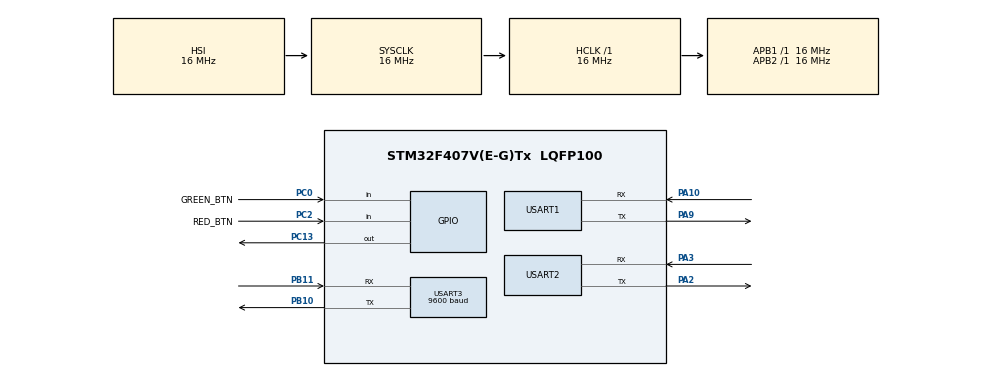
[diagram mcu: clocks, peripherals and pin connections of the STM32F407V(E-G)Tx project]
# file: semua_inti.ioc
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Mcu.Family=STM32F4
Mcu.Name=STM32F407V(E-G)Tx
Mcu.Package=LQFP100
NVIC.PriorityGroup=NVIC_PRIORITYGROUP_4
PA10.Mode=Asynchronous
PA10.Signal=USART1_RX
PA2.Mode=Asynchronous
PA2.Signal=USART2_TX
PA3.Mode=Asynchronous
PA3.Signal=USART2_RX
PA9.Mode=Asynchronous
PA9.Signal=USART1_TX
PB10.Mode=Asynchronous
PB10.Signal=USART3_TX
PB11.Mode=Asynchronous
PB11.Signal=USART3_RX
PC0.GPIO_Label=GREEN_BTN
PC0.GPIO_PuPd=GPIO_PULLUP
PC0.Signal=GPIO_Input
PC2.GPIO_Label=RED_BTN
PC2.GPIO_PuPd=GPIO_PULLUP
PC2.Signal=GPIO_Input
PC13-ANTI_TAMP.Signal=GPIO_Output
ProjectManager.HeapSize=0x200
ProjectManager.StackSize=0x400
ProjectManager.TargetToolchain=STM32CubeIDE
RCC.AHBFreq_Value=16000000
RCC.APB1Freq_Value=16000000
RCC.APB2Freq_Value=16000000
RCC.CortexFreq_Value=16000000
RCC.HSE_VALUE=25000000
RCC.HSI_VALUE=16000000
RCC.LSE_VALUE=32768
RCC.SYSCLKFreq_VALUE=16000000
RCC.VCOOutputFreq_Value=192000000
USART1.VirtualMode=VM_ASYNC
USART2.VirtualMode=VM_ASYNC
USART3.BaudRate=9600
USART3.VirtualMode=VM_ASYNC
board=custom

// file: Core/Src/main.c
/* USER CODE BEGIN Header */
/**
  ******************************************************************************
  * @file           : main.c
  * @brief          : Main program body
  ******************************************************************************
  */
/* USER CODE END Header */
#include "main.h"

/* USER CODE BEGIN Includes */
#include <stdio.h>
#include <string.h>
#include <stdbool.h>
#include "modbus_master.h"
/* USER CODE END Includes */

/* USER CODE BEGIN PD */

// untuk wifi
#define WIFI_SSID "woi"
#define WIFI_PASS "123456781"
#define WIFI_RX_BUFFER_SIZE 512

// --- TESTING/DEVELOPMENT CONFIGURATION ---
// Set ENABLE_PHOTO_LIMIT to 1 for testing (captures MAX_PHOTOS then stops)
// Set ENABLE_PHOTO_LIMIT to 0 for production (infinite loop)
#define ENABLE_PHOTO_LIMIT  1      // 1 = testing mode, 0 = production mode
#define MAX_PHOTOS          10     // Maximum photos to capture (ignored if ENABLE_PHOTO_LIMIT = 0)

/* USER CODE END PD */

UART_HandleTypeDef huart1;
UART_HandleTypeDef huart2;
UART_HandleTypeDef huart3;

/* USER CODE BEGIN PV */

//variabel wifi
uint8_t wifi_rx_buffer[WIFI_RX_BUFFER_SIZE];

// Modbus Master untuk komunikasi dengan ESP32-CAM
ModbusMaster_t modbus_master;

// Photo ID and Group ID counters
uint16_t photo_counter = 1;    // Photo ID counter (starts from 1)
uint16_t current_group = 1;    // Current group ID (changes when robot turns)

// OLD: UART receive buffer and state for STM32 <-> ESP32 comms (DEPRECATED - using Modbus now)
// #define RX_LINE_MAX 256
// static uint8_t rx_byte;                // single-byte receiver for interrupt
// static char rx_line[RX_LINE_MAX];      // accumulates a line
// static volatile uint16_t rx_index = 0;
// static volatile uint8_t line_ready = 0; // flag: full line received
// static volatile uint8_t waiting_for_response = 0;
// static const uint32_t COMMAND_TIMEOUT_MS = 5000; // 5s timeout, adjust as needed

/* USER CODE END PV */

void SystemClock_Config(void);
static void MX_GPIO_Init(void);
static void MX_USART2_UART_Init(void);
static void MX_USART1_UART_Init(void);
static void MX_USART3_UART_Init(void);

/* USER CODE BEGIN PFP */

// --- FUNGSI BANTU UNTUK WIFI (DEPRECATED - esp-link handles WiFi now) ---
// bool send_and_receive(const char *cmd, uint32_t delay_ms);
// bool ESP01_ConnectWiFi(const char *ssid, const char *password);
// -----------------------------

// --- BUTTON CONTROL FUNCTIONS ---
uint8_t read_green_button(void);  // Returns 1 if pressed, 0 if not
uint8_t read_red_button(void);    // Returns 1 if pressed, 0 if not

// --- BUTTON-AWARE MODBUS FUNCTION ---
int ModbusMaster_WaitForCompletion_WithButton(ModbusMaster_t *modbus, uint32_t max_wait_ms);
// -----------------------------

/* USER CODE END PFP */

/* USER CODE BEGIN 0 */
#include "stdio.h" // Tambahkan ini untuk printf

// Deklarasikan huart1 agar dikenal di fungsi ini
extern UART_HandleTypeDef huart1;

// Fungsi _write untuk printf ke UART1 (USB-TTL) dan UART2 (WiFi ESP-01)
// Sekarang serial output keluar ke 2 tempat: USB debug + WiFi esp-link
int _write(int file, char *ptr, int len)
{
  (void)file; // Tidak digunakan
  HAL_UART_Transmit(&huart1, (uint8_t*)ptr, len, 100); // USB-TTL debug (115200 baud)
  HAL_UART_Transmit(&huart2, (uint8_t*)ptr, len, 100); // WiFi esp-link (115200 baud)
  return len;
}

// =================================================================
// == BUTTON CONTROL FUNCTIONS ==
// Active LOW buttons with internal pull-up (pressed = 0, not pressed = 1)
// =================================================================

// Read GREEN button (PC0)
// Returns 1 if pressed, 0 if not pressed
uint8_t read_green_button(void) {
    // Active LOW: Button pressed = GPIO_PIN_RESET (0)
    if (HAL_GPIO_ReadPin(GPIOC, GPIO_PIN_0) == GPIO_PIN_RESET) {
        HAL_Delay(50);  // Debounce 50ms
        if (HAL_GPIO_ReadPin(GPIOC, GPIO_PIN_0) == GPIO_PIN_RESET) {
            return 1;  // Pressed
        }
    }
    return 0;  // Not pressed
}

// Read RED button (PC2)
// Returns 1 if pressed, 0 if not pressed
uint8_t read_red_button(void) {
    // Active LOW: Button pressed = GPIO_PIN_RESET (0)
    if (HAL_GPIO_ReadPin(GPIOC, GPIO_PIN_2) == GPIO_PIN_RESET) {
        HAL_Delay(50);  // Debounce 50ms
        if (HAL_GPIO_ReadPin(GPIOC, GPIO_PIN_2) == GPIO_PIN_RESET) {
            return 1;  // Pressed
        }
    }
    return 0;  // Not pressed
}

// =================================================================
// BUTTON-AWARE WAIT FOR COMPLETION
// Modified version of ModbusMaster_WaitForCompletion that checks
// RED button every 200ms, allowing user to abort during upload
// =================================================================
#define MODBUS_ERR_USER_ABORT -10  // User pressed RED button

int ModbusMaster_WaitForCompletion_WithButton(ModbusMaster_t *modbus, uint32_t max_wait_ms)
{
    uint32_t start_tick = HAL_GetTick();
    uint16_t status = STATUS_IDLE;
    uint8_t consecutive_errors = 0;
    const uint8_t MAX_CONSECUTIVE_ERRORS = 5;

    while ((HAL_GetTick() - start_tick) < max_wait_ms) {
        // ===================================================================
        // CHECK RED BUTTON EVERY ITERATION (every 200ms)
        // This makes RED button super responsive even during 90s upload!
        // ===================================================================
        if (read_red_button()) {
            printf("[System] RED button pressed during upload! Aborting...\r\n");
            return MODBUS_ERR_USER_ABORT;  // Signal user abort
        }

        // Read status register
        int result = ModbusMaster_ReadStatus(modbus, &status);

        // Handle communication errors (allow retries for transient errors)
        if (result != MODBUS_OK) {
            consecutive_errors++;
            if (consecutive_errors >= MAX_CONSECUTIVE_ERRORS) {
                return result;  // Communication failure
            }
            HAL_Delay(200);
            continue;
        }

        // Communication successful, reset error counter
        consecutive_errors = 0;

        // Check status
        if (status == STATUS_SUCCESS) {
            return MODBUS_OK;  // Success!
        } else if (status == STATUS_ERROR) {
            return MODBUS_ERR_EXCEPTION;  // Slave reported error
        }

        // Status is IDLE or BUSY, wait and retry
        HAL_Delay(200);  // Poll every 200ms
    }

    // Timeout - exceeded max_wait_ms
    return MODBUS_ERR_TIMEOUT;
}

// =================================================================
// == FUNGSI WIFI ESP01 (DEPRECATED - esp-link firmware handles all WiFi) ==
// =================================================================
/*
bool send_at_command(const char* cmd, const char* expected_response, uint32_t timeout)
{
    memset(wifi_rx_buffer, '\0', WIFI_RX_BUFFER_SIZE); // Kosongkan buffer utama
    uint32_t buffer_idx = 0; // Indeks untuk buffer utama

    printf("Mengirim: %s", cmd);
    HAL_UART_Transmit(&huart2, (uint8_t*)cmd, strlen(cmd), 1000); // Kirim perintah

    uint32_t start_time = HAL_GetTick(); // Catat waktu mulai

    // Loop polling sampai timeout total
    while ((HAL_GetTick() - start_time) < timeout)
    {
        uint8_t byte_received; // Terima satu byte saja

        // Coba terima SATU byte dengan timeout singkat (misal 50ms)
        if (HAL_UART_Receive(&huart2, &byte_received, 1, 50) == HAL_OK)
        {
            // Jika satu byte diterima
            if (buffer_idx < WIFI_RX_BUFFER_SIZE - 1) // Pastikan buffer tidak penuh
            {
                wifi_rx_buffer[buffer_idx++] = byte_received; // Tambahkan byte ke buffer
                wifi_rx_buffer[buffer_idx] = '\0'; // Jaga agar tetap null-terminated

                // Periksa apakah respons yang diharapkan ADA di buffer setiap kali byte baru masuk
                if (strstr((char*)wifi_rx_buffer, expected_response) != NULL) {
                    printf("Respon DITEMUKAN! >> %s\r\n", wifi_rx_buffer);
                    return true; // Berhasil!
                }
            }
            else {
                 printf("Respon >> (Buffer Penuh sebelum respons ditemukan)\r\n");
                 return false; // Buffer penuh, anggap gagal
            }
        }
        // Jika HAL_UART_Receive timeout (tidak ada byte baru), loop lanjut
        // Kita tidak perlu HAL_Delay di sini karena HAL_UART_Receive sudah memberi jeda
    }

    // Jika keluar dari loop (timeout total tercapai)
    printf("Respon >> (Timeout %lu ms, respons '%s' tidak ditemukan)\r\n", timeout, expected_response);
    printf("   Buffer terakhir: %s\r\n", wifi_rx_buffer);
    return false; // Gagal
}

// Fungsi ESP01_ConnectWiFi (bool version) biarkan seperti yang sudah ada di kode bool sebelumnya
bool ESP01_ConnectWiFi(const char *ssid, const char *password) {
    if (!send_at_command("AT\r\n", "OK", 2000)) {
       // printf("ESP8266 tidak merespon 'AT'. Cek kabel/daya.\r\n"); // Komentar ini bisa diaktifkan jika perlu
    }
    if (!send_at_command("AT+RST\r\n", "ready", 5000)) {
       // printf("Modul gagal reset.\r\n");
    }
    if (!send_at_command("AT+CWMODE=1\r\n", "OK", 2000)) {
      //  printf("Gagal set mode station.\r\n");
    }

    char wifiCommand[128];
    snprintf(wifiCommand, sizeof(wifiCommand), "AT+CWJAP=\"%s\",\"%s\"\r\n", ssid, password);

    if (!send_at_command(wifiCommand, "WIFI GOT IP", 20000)) { // Timeout 20 detik
        printf("Gagal konek ke WiFi. Cek SSID/Password/Sinyal.\r\n");
        return false;
    }

    printf("WiFi Terhubung dan Mendapat IP!\r\n");
    return true;
}
*/
/* USER CODE END 0 */

int main(void)
{

  /* MCU Configuration--------------------------------------------------------*/

  /* Reset of all peripherals, Initializes the Flash interface and the Systick. */
  HAL_Init();

  /* Configure the system clock */
  SystemClock_Config();

  /* Initialize all configured peripherals */
  MX_GPIO_Init();
  MX_USART2_UART_Init();
  MX_USART1_UART_Init();
  MX_USART3_UART_Init();

  /* USER CODE BEGIN 2 */

  // Initialize Modbus Master untuk komunikasi dengan ESP32-CAM via UART3
  ModbusMaster_Init(&modbus_master, &huart3, MODBUS_TIMEOUT_MS);
  printf("=== Modbus RTU Master Initialized (UART3, 9600 baud) ===\r\n");

  // OLD: UART interrupt mode (deprecated)
  // HAL_UART_Receive_IT(&huart3, &rx_byte, 1);

  // =================================================================
  // == ESP-01 WIFI SETUP (Using esp-link firmware) ==
  // == WiFi configuration handled by esp-link web UI ==
  // == STM32 just sends serial data to UART2, esp-link forwards via WiFi ==
  // =================================================================
  printf("=== ESP-01 (esp-link) Serial-WiFi Bridge Active ===\r\n");
  printf("=== Access via browser: http://<esp-link-IP> ===\r\n");
  printf("=== Or Telnet: telnet <esp-link-IP> 23 ===\r\n\r\n");

  // LED indicator: System ready
  HAL_GPIO_WritePin(GPIOC, GPIO_PIN_13, GPIO_PIN_RESET); // LED NYALA (system ready)
  /* USER CODE END 2 */

  /* Infinite loop */
  /* USER CODE BEGIN WHILE */

  // Print configuration mode
#if ENABLE_PHOTO_LIMIT
  printf("\r\n========================================\r\n");
  printf("[Config] TESTING MODE ACTIVE\r\n");
  printf("[Config] Will capture maximum %d photos\r\n", MAX_PHOTOS);
  printf("========================================\r\n\r\n");
#else
  printf("\r\n========================================\r\n");
  printf("[Config] PRODUCTION MODE ACTIVE\r\n");
  printf("[Config] Infinite capture loop enabled\r\n");
  printf("========================================\r\n\r\n");
#endif

  // ===================================================================
  // FIX 2: Wait for ESP32-CAM to be ready (Handshake mechanism)
  // ESP32 sets READY flag (0x0006) after WiFi + Session + Camera init
  // ===================================================================
  printf("\r\n[Startup] Waiting for ESP32-CAM initialization...\r\n");
  printf("[Startup] Checking READY flag (Register 0x0006) every 2 seconds...\r\n\r\n");

  uint8_t ready_check_count = 0;
  uint16_t esp32_ready = 0;

  while (1) {
      // Flush RX buffer before critical read (Fix 4)
      ModbusMaster_FlushRxBuffer(modbus_master.huart);

      // Read ESP32 READY register (0x0006)
      int result = ModbusMaster_ReadHoldingRegisters(&modbus_master,
                                                      MODBUS_SLAVE_ADDR,
                                                      MODBUS_REG_ESP32_READY,
                                                      1,
                                                      &esp32_ready);

      if (result == MODBUS_OK && esp32_ready == 1) {
          printf("[Startup] ESP32-CAM is READY! Starting capture sequence...\r\n\r\n");
          break;  // ESP32 ready, exit wait loop
      }

      ready_check_count++;

      if (result == MODBUS_OK) {
          printf("[Startup] ESP32-CAM not ready yet (READY=%d), check #%d, waiting 2s...\r\n",
                 esp32_ready, ready_check_count);
      } else {
          printf("[Startup] Cannot read READY register (error %d), check #%d, waiting 2s...\r\n",
                 result, ready_check_count);
      }

      HAL_Delay(2000);  // Check every 2 seconds

      // Optional: Timeout after 60 seconds (30 checks)
      if (ready_check_count >= 30) {
          printf("\r\n[Startup] WARNING: ESP32-CAM tidak ready setelah 60 detik!\r\n");
          printf("[Startup] Proceeding anyway, but first capture may fail.\r\n\r\n");
          break;
      }
  }

  // ===================================================================
  // FIX 6: Set Group ID once at startup (not every capture)
  // ===================================================================
  printf("[Startup] Setting Group ID to %d (once at startup)...\r\n", current_group);

  // Flush buffer before critical command (Fix 4)
  ModbusMaster_FlushRxBuffer(modbus_master.huart);

  int group_result = ModbusMaster_WriteSingleRegister(&modbus_master,
                                                       MODBUS_SLAVE_ADDR,
                                                       0x0005,  // REG_GROUP_ID
                                                       current_group);
  if (group_result == MODBUS_OK) {
      printf("[Startup] Group ID set successfully.\r\n\r\n");
  } else {
      printf("[Startup] WARNING: Failed to set Group ID (error %d)\r\n\r\n", group_result);
  }

  printf("========================================\r\n");
  printf("[System] READY TO START CAPTURE\r\n");
  printf("[System] Press GREEN button to begin...\r\n");
  printf("========================================\r\n\r\n");

  // ===================================================================
  // WAIT FOR GREEN BUTTON PRESS (Blocking wait)
  // User must press GREEN button to start capture sequence
  // ===================================================================
  while (!read_green_button()) {
      HAL_Delay(100);  // Check every 100ms
  }

  printf("[System] GREEN button pressed! Starting capture sequence...\r\n\r\n");

while (1)
{
    /* USER CODE END WHILE */

    /* USER CODE BEGIN 3 */

    // Check photo limit (if enabled)
#if ENABLE_PHOTO_LIMIT
    if (photo_counter > MAX_PHOTOS) {
        printf("\r\n========================================\r\n");
        printf("[System] MAXIMUM PHOTOS REACHED (%d)\r\n", MAX_PHOTOS);
        printf("[System] Total captured: %d photos\r\n", photo_counter - 1);
        printf("[System] Program stopped.\r\n");
        printf("[System] Press RESET button to restart.\r\n");
        printf("========================================\r\n\r\n");
        break;  // Exit main loop
    }
#endif

    // =================================================================
    // CHECK RED BUTTON FOR MANUAL STOP (Non-blocking)
    // User can press RED button anytime to end session
    // =================================================================
    if (read_red_button()) {
        printf("\r\n========================================\r\n");
        printf("[System] RED button pressed! Stopping session...\r\n");
        printf("========================================\r\n\r\n");

        // Send END_SESSION command to ESP32-CAM
        printf("[Modbus] Sending END_SESSION command to ESP32-CAM...\r\n");

        // Flush buffer before command
        ModbusMaster_FlushRxBuffer(modbus_master.huart);

        int result = ModbusMaster_WriteSingleRegister(&modbus_master,
                                                       MODBUS_SLAVE_ADDR,
                                                       0x0007,  // SESSION_CONTROL register
                                                       2);      // END_SESSION command

        if (result == MODBUS_OK) {
            printf("[Modbus] END_SESSION command sent successfully.\r\n");
            printf("[Modbus] Waiting for ESP32 to complete API call...\r\n");
            HAL_Delay(3000);  // Wait for ESP32 to call /session/end API
            printf("[Modbus] Session ended.\r\n");
        } else {
            printf("[Modbus] WARNING: Failed to send END_SESSION (Error: %d)\r\n", result);
            printf("[Modbus] Proceeding to stop anyway.\r\n");
        }

        printf("\r\n========================================\r\n");
        printf("[System] SESSION ENDED\r\n");
        printf("[System] Total photos captured: %d\r\n", photo_counter - 1);
        printf("[System] Press RESET button to restart.\r\n");
        printf("========================================\r\n\r\n");

        break;  // Exit capture loop
    }

    // =================================================================
    // STEP 1: Send Photo ID and Group ID to ESP32-CAM
    // =================================================================
#if ENABLE_PHOTO_LIMIT
    printf("\r\n[Capture #%d / %d] === Starting new capture sequence ===\r\n", photo_counter, MAX_PHOTOS);
#else
    printf("\r\n[Capture #%d] === Starting new capture sequence ===\r\n", photo_counter);
#endif
    printf("[Modbus] Photo ID: %d, Group ID: %d\r\n", photo_counter, current_group);

    // Flush RX buffer before critical command (Fix 4)
    ModbusMaster_FlushRxBuffer(modbus_master.huart);

    // Send Photo ID to ESP32-CAM (Register 0x0004)
    printf("[Modbus] Setting Photo ID to %d (Reg 0x0004)...\r\n", photo_counter);
    int result = ModbusMaster_WriteSingleRegister(&modbus_master,
                                                   MODBUS_SLAVE_ADDR,
                                                   0x0004,  // REG_PHOTO_ID
                                                   photo_counter);
    if (result != MODBUS_OK) {
        printf("[Modbus] ERROR: Gagal set Photo ID (Error code: %d)\r\n", result);

        // Button-aware error recovery delay (5 seconds)
        for (int i = 0; i < 50; i++) {
            if (read_red_button()) {
                printf("[System] RED button pressed during error recovery. Aborting...\r\n");
                goto exit_capture_loop;
            }
            HAL_Delay(100);
        }
        continue;
    }
    printf("[Modbus] Photo ID set successfully.\r\n");

    // NOTE: Group ID set once at startup (Fix 6 - optimization)

    // =================================================================
    // STEP 2: Send CAPTURE command to ESP32-CAM
    // =================================================================
    printf("[Modbus] Mengirim perintah CAPTURE ke ESP32-CAM (Reg 0x0001 = 1)...\r\n");

    result = ModbusMaster_SendCaptureCommand(&modbus_master);

    if (result != MODBUS_OK) {
        printf("[Modbus] ERROR: Gagal mengirim command (Error code: %d)\r\n", result);
        if (result == MODBUS_ERR_TIMEOUT) {
            printf("  -> Timeout! Cek koneksi UART atau ESP32-CAM tidak merespon.\r\n");
        } else if (result == MODBUS_ERR_CRC) {
            printf("  -> CRC Error! Data corrupted atau noise di line.\r\n");
        } else if (result == MODBUS_ERR_EXCEPTION) {
            printf("  -> Modbus Exception! ESP32-CAM menolak request.\r\n");
        }

        // Button-aware error recovery delay (5 seconds)
        for (int i = 0; i < 50; i++) {
            if (read_red_button()) {
                printf("[System] RED button pressed during error recovery. Aborting...\r\n");
                goto exit_capture_loop;
            }
            HAL_Delay(100);
        }
        continue; // Skip ke iterasi berikutnya
    }

    printf("[Modbus] Command berhasil dikirim! ESP32-CAM acknowledge.\r\n");

    // =================================================================
    // STEP 3: Poll status sampai selesai (max 90 detik for Azure upload)
    // RED button checked every 200ms during this wait!
    // =================================================================
    printf("[Modbus] Polling status ESP32-CAM (max 90 detik)...\r\n");
    printf("[Modbus] RED button can abort anytime during upload!\r\n");

    result = ModbusMaster_WaitForCompletion_WithButton(&modbus_master, 90000); // 90 detik timeout + button check every 200ms

    if (result == MODBUS_OK) {
        printf("[Modbus] SUCCESS! ESP32-CAM selesai capture & upload.\r\n");
        printf("[Modbus] Photo #%03d uploaded successfully (Group %d).\r\n", photo_counter, current_group);

        // Increment photo counter untuk foto berikutnya
        photo_counter++;
        printf("[Counter] Photo counter incremented to: %d\r\n", photo_counter);

    } else if (result == MODBUS_ERR_USER_ABORT) {
        // RED button pressed during upload!
        printf("[Modbus] USER ABORT! RED button pressed during upload.\r\n");
        printf("[System] Stopping capture session...\r\n");

        // Send END_SESSION command to ESP32-CAM
        printf("[Modbus] Sending END_SESSION command to ESP32-CAM...\r\n");
        ModbusMaster_FlushRxBuffer(modbus_master.huart);
        int end_result = ModbusMaster_WriteSingleRegister(&modbus_master,
                                                           MODBUS_SLAVE_ADDR,
                                                           0x0007,  // SESSION_CONTROL register
                                                           2);      // END_SESSION command
        if (end_result == MODBUS_OK) {
            printf("[Modbus] END_SESSION sent successfully.\r\n");
            HAL_Delay(3000);  // Wait for API call
        }

        printf("\r\n========================================\r\n");
        printf("[System] SESSION ENDED BY USER\r\n");
        printf("[System] Total photos captured: %d\r\n", photo_counter - 1);
        printf("========================================\r\n\r\n");
        break;  // Exit capture loop

    } else if (result == MODBUS_ERR_TIMEOUT) {
        printf("[Modbus] TIMEOUT! ESP32-CAM tidak selesai dalam 90 detik.\r\n");
    } else if (result == MODBUS_ERR_EXCEPTION) {
        printf("[Modbus] ERROR! ESP32-CAM melaporkan kegagalan (status=ERROR).\r\n");

        // Read error code from register 0x0003
        uint16_t error_code = 0;
        if (ModbusMaster_ReadHoldingRegisters(&modbus_master, MODBUS_SLAVE_ADDR,
                                               MODBUS_REG_ERROR_CODE, 1, &error_code) == MODBUS_OK) {
            printf("  -> Error Code: 0x%04X ", error_code);

            // Decode error code
            switch(error_code) {
                case 0x0001: printf("(Camera capture failed)\r\n"); break;
                case 0x0002: printf("(WiFi disconnected)\r\n"); break;
                case 0x0003: printf("(Image upload failed)\r\n"); break;
                case 0x0004: printf("(Metadata upload failed)\r\n"); break;
                case 0x0005: printf("(Session ID retrieval failed)\r\n"); break;
                case 0x0006: printf("(Invalid Photo ID)\r\n"); break;
                default: printf("(Unknown error)\r\n"); break;
            }
        }

        // Optional: Retry logic bisa ditambahkan di sini
        // Untuk sekarang, skip dan lanjut ke foto berikutnya
        printf("[Recovery] Skipping failed capture, moving to next photo...\r\n");
        photo_counter++;  // Increment juga untuk skip photo_id yang gagal
    } else {
        printf("[Modbus] ERROR: Communication error (Error code: %d)\r\n", result);
    }

    // =================================================================
    // STEP 4: Check for group change (navigation logic - Phase 2)
    // =================================================================
    // TODO (Phase 2): Implement group change detection based on ultrasonic sensors
    // When robot turns (detected by navigation logic), increment current_group
    //
    // Example logic:
    // if (robot_turned) {  // Will be detected by HC-SR04 + motor encoder
    //     current_group++;
    //     printf("[Navigation] Robot turned! Group ID incremented to: %d\r\n", current_group);
    // }
    //
    // For now, group_id stays constant at 1 (single straight corridor)

    // =================================================================
    // STEP 5: Wait 5 seconds before next capture (with RED button check)
    // Check RED button every 100ms during this delay
    // =================================================================
    printf("\r\nMenunggu 5 detik sebelum capture berikutnya...\r\n");
    printf("[System] RED button can abort during this delay!\r\n");

    // Button-aware delay: 5000ms = 50 iterations x 100ms
    for (int i = 0; i < 50; i++) {
        if (read_red_button()) {
            printf("\r\n========================================\r\n");
            printf("[System] RED button pressed during delay! Stopping...\r\n");
            printf("========================================\r\n\r\n");

            // Send END_SESSION command
            printf("[Modbus] Sending END_SESSION command to ESP32-CAM...\r\n");
            ModbusMaster_FlushRxBuffer(modbus_master.huart);
            int end_result = ModbusMaster_WriteSingleRegister(&modbus_master,
                                                               MODBUS_SLAVE_ADDR,
                                                               0x0007,  // SESSION_CONTROL
                                                               2);      // END_SESSION
            if (end_result == MODBUS_OK) {
                printf("[Modbus] END_SESSION sent successfully.\r\n");
                HAL_Delay(3000);
            }

            printf("\r\n========================================\r\n");
            printf("[System] SESSION ENDED BY USER\r\n");
            printf("[System] Total photos captured: %d\r\n", photo_counter - 1);
            printf("========================================\r\n\r\n");

            // Exit main loop by jumping to end of while(1)
            goto exit_capture_loop;
        }
        HAL_Delay(100);  // 100ms per iteration
    }
}

exit_capture_loop:  // Label for exiting capture loop from delay

  // Idle mode after photo limit reached (only executed if ENABLE_PHOTO_LIMIT = 1)
  printf("\r\n[System] Entering idle mode...\r\n");
  printf("[System] LED will blink slowly to indicate idle state.\r\n");
  while (1) {
      HAL_GPIO_TogglePin(GPIOC, GPIO_PIN_13);  // Blink LED slowly
      HAL_Delay(1000);  // 1 second on, 1 second off
  }

  /* USER CODE END 3 */
}

void SystemClock_Config(void)
{
  RCC_OscInitTypeDef RCC_OscInitStruct = {0};
  RCC_ClkInitTypeDef RCC_ClkInitStruct = {0};

  /** Configure the main internal regulator output voltage
  */
  __HAL_RCC_PWR_CLK_ENABLE();
  __HAL_PWR_VOLTAGESCALING_CONFIG(PWR_REGULATOR_VOLTAGE_SCALE1);

  /** Initializes the RCC Oscillators according to the specified parameters
  * in the RCC_OscInitTypeDef structure.
  */
  RCC_OscInitStruct.OscillatorType = RCC_OSCILLATORTYPE_HSI;
  RCC_OscInitStruct.HSIState = RCC_HSI_ON;
  RCC_OscInitStruct.HSICalibrationValue = RCC_HSICALIBRATION_DEFAULT;
  RCC_OscInitStruct.PLL.PLLState = RCC_PLL_NONE;
  if (HAL_RCC_OscConfig(&RCC_OscInitStruct) != HAL_OK)
  {
    Error_Handler();
  }

  /** Initializes the CPU, AHB and APB buses clocks
  */
  RCC_ClkInitStruct.ClockType = RCC_CLOCKTYPE_HCLK|RCC_CLOCKTYPE_SYSCLK
                              |RCC_CLOCKTYPE_PCLK1|RCC_CLOCKTYPE_PCLK2;
  RCC_ClkInitStruct.SYSCLKSource = RCC_SYSCLKSOURCE_HSI;
  RCC_ClkInitStruct.AHBCLKDivider = RCC_SYSCLK_DIV1;
  RCC_ClkInitStruct.APB1CLKDivider = RCC_HCLK_DIV1;
  RCC_ClkInitStruct.APB2CLKDivider = RCC_HCLK_DIV1;

  if (HAL_RCC_ClockConfig(&RCC_ClkInitStruct, FLASH_LATENCY_0) != HAL_OK)
  {
    Error_Handler();
  }
}

static void MX_USART1_UART_Init(void)
{

  huart1.Instance = USART1;
  huart1.Init.BaudRate = 115200;
  huart1.Init.WordLength = UART_WORDLENGTH_8B;
  huart1.Init.StopBits = UART_STOPBITS_1;
  huart1.Init.Parity = UART_PARITY_NONE;
  huart1.Init.Mode = UART_MODE_TX_RX;
  huart1.Init.HwFlowCtl = UART_HWCONTROL_NONE;
  huart1.Init.OverSampling = UART_OVERSAMPLING_16;
  if (HAL_UART_Init(&huart1) != HAL_OK)
  {
    Error_Handler();
  }

}

static void MX_USART2_UART_Init(void)
{

  huart2.Instance = USART2;
  huart2.Init.BaudRate = 115200;
  huart2.Init.WordLength = UART_WORDLENGTH_8B;
  huart2.Init.StopBits = UART_STOPBITS_1;
  huart2.Init.Parity = UART_PARITY_NONE;
  huart2.Init.Mode = UART_MODE_TX_RX;
  huart2.Init.HwFlowCtl = UART_HWCONTROL_NONE;
  huart2.Init.OverSampling = UART_OVERSAMPLING_16;
  if (HAL_UART_Init(&huart2) != HAL_OK)
  {
    Error_Handler();
  }

}

static void MX_USART3_UART_Init(void)
{

  huart3.Instance = USART3;
  huart3.Init.BaudRate = 9600;
  huart3.Init.WordLength = UART_WORDLENGTH_8B;
  huart3.Init.StopBits = UART_STOPBITS_1;
  huart3.Init.Parity = UART_PARITY_NONE;
  huart3.Init.Mode = UART_MODE_TX_RX;
  huart3.Init.HwFlowCtl = UART_HWCONTROL_NONE;
  huart3.Init.OverSampling = UART_OVERSAMPLING_16;
  if (HAL_UART_Init(&huart3) != HAL_OK)
  {
    Error_Handler();
  }

}

static void MX_GPIO_Init(void)
{
  GPIO_InitTypeDef GPIO_InitStruct = {0};

  /* GPIO Ports Clock Enable */
  __HAL_RCC_GPIOC_CLK_ENABLE();
  __HAL_RCC_GPIOA_CLK_ENABLE();
  __HAL_RCC_GPIOB_CLK_ENABLE();

  /*Configure GPIO pin Output Level */
  HAL_GPIO_WritePin(GPIOC, GPIO_PIN_13, GPIO_PIN_RESET);

  /*Configure GPIO pin : PC13 */
  GPIO_InitStruct.Pin = GPIO_PIN_13;
  GPIO_InitStruct.Mode = GPIO_MODE_OUTPUT_PP;
  GPIO_InitStruct.Pull = GPIO_NOPULL;
  GPIO_InitStruct.Speed = GPIO_SPEED_FREQ_LOW;
  HAL_GPIO_Init(GPIOC, &GPIO_InitStruct);

/* USER CODE BEGIN MX_GPIO_Init_2 */

  /*Configure GPIO pins : PC0 (GREEN button) and PC2 (RED button) */
  GPIO_InitStruct.Pin = GPIO_PIN_0 | GPIO_PIN_2;
  GPIO_InitStruct.Mode = GPIO_MODE_INPUT;
  GPIO_InitStruct.Pull = GPIO_PULLUP;  // Active LOW with pull-up
  HAL_GPIO_Init(GPIOC, &GPIO_InitStruct);

/* USER CODE END MX_GPIO_Init_2 */
}

/* USER CODE BEGIN 4 */

// OLD CALLBACK - DEPRECATED (Using Modbus RTU polling now)
/*
void HAL_UART_RxCpltCallback(UART_HandleTypeDef *huart)
{
    if (huart->Instance == USART3) { // Callback utk USART3 (ESP32)
        // ignore carriage return '\r', gunakan '\n' sebagai terminator
        if (rx_byte == '\r') {
            // skip
        } else if (rx_byte == '\n') {
            rx_line[rx_index] = '\0';   // terminate string
            line_ready = 1;             // tandai line siap diproses
            rx_index = 0;               // reset untuk line berikutnya
        } else {
            if (rx_index < (RX_LINE_MAX - 1)) {
                rx_line[rx_index++] = (char)rx_byte;
            } else {
                // overflow: reset index dan flag (jangan crash)
                rx_index = 0;
            }
        }
        // restart interrupt receive untuk byte berikutnya
        HAL_UART_Receive_IT(&huart3, &rx_byte, 1);
    }
}
*/

/* USER CODE END 4 */

void Error_Handler(void)
{
  __disable_irq();
  while (1)
  {
  }
}
